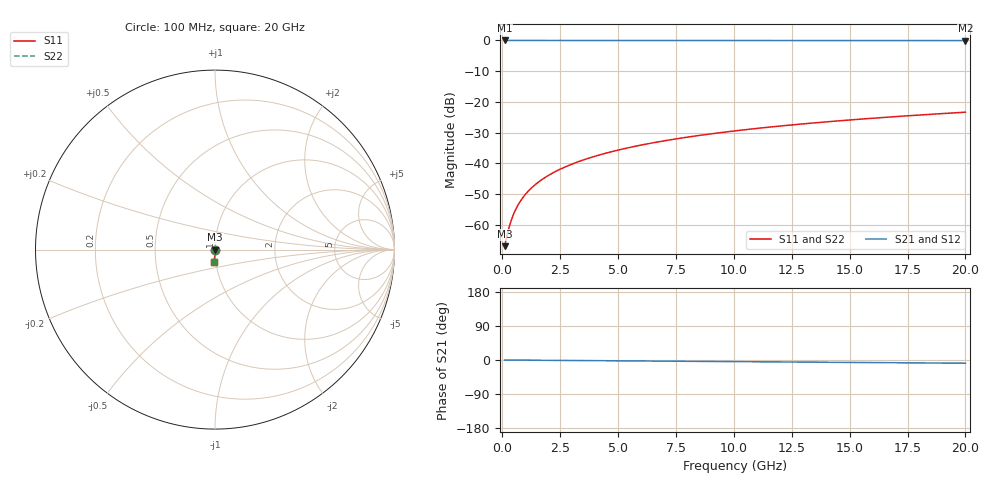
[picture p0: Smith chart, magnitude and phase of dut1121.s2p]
! Touchstone file exported from HFSS 2026.1.0
!  File:  C:/ffzhzh/LocalFiles/Ansys_Project_Files/temp_train_TSV_1121_1783190958_18472.aedt
!  Generated:  02:50:44 AM Jul  5, 2026
!  Design:  TSV
!  Project:  temp_train_TSV_1121_1783190958_18472
! Variables:
!  h_bsmrdl = 2um
!  h_ox = 20um
!  h_rdl = 5um
!  h_sub = 82.93um
!  h_tmrdl = 5um
!  h_tsv = 82.93um
!  h_via = 3um
!  l_bsmrdl = 300um
!  l_sub = 410.98um
!  l_tmrdl = 200um
!  m_sub = 200um
!  pitch = 14.83um
!  r_tsv = 5.49um
!  s_tmrdl = 10um
!  w_bsmrdl = 18um
!  w_sub = 500um
!  w_tmrdl = 12um
!  x_tsv_center1 = 206um
!  x_tsv_center2 = 524um
!  x_tsv_center3 = 736um
!  x_tsv_center4 = 1054um
!  x_tsv_center5 = 1266um
!  x_tsv_center6 = 1584um
# GHz S MA R 50.000000
! Terminal data exported
! Port[1] = TSV1_1_T1
! Port[2] = TSV1_1_T2
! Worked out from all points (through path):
!   200 points, 100 MHz to 20 GHz, reference 50 ohm
!   highest |S21| = 0.00 dB at 100 MHz (marker M1); lowest = 0.0 dB at 20 GHz (marker M2)
!   group delay of S21, straight-line fit = 1.18 ps
!   lowest |S11| = -67.0 dB at 100 MHz (marker M3), VSWR 1.00, Z = 50 - j0.0256 ohm
!   |S11| at or under -10 dB: start of sweep to end of sweep
!   |S22| runs from -67.0 to -23.4 dB; largest |S21 - S12| = 4e-15
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0.1  0.0004466 -35.0  0.9996 -0.0  0.9996 -0.0  0.0004466 -35.0
! Gamma 0 0 0 0
! Port Impedance 50 0 50 0
0.2  0.0006597 -52.8  0.9996 -0.1  0.9996 -0.1  0.0006597 -52.8
0.3  0.000925 -61.6  0.9996 -0.1  0.9996 -0.1  0.000925 -61.6
0.4  0.001217 -66.7  0.9995 -0.2  0.9995 -0.2  0.001217 -66.7
0.5  0.001523 -70.1  0.9995 -0.2  0.9995 -0.2  0.001523 -70.1
0.6  0.001837 -72.7  0.9994 -0.3  0.9994 -0.3  0.001837 -72.7
0.8  0.002476 -76.2  0.9994 -0.4  0.9994 -0.4  0.002476 -76.2
1.1  0.003444 -79.4  0.9993 -0.5  0.9993 -0.5  0.003444 -79.4
1.3  0.004092 -80.8  0.9993 -0.6  0.9993 -0.6  0.004092 -80.8
1.5  0.00474 -81.8  0.9993 -0.7  0.9993 -0.7  0.00474 -81.8
1.8  0.005716 -83.0  0.9992 -0.8  0.9992 -0.8  0.005716 -83.0
2.1  0.006696 -83.9  0.9991 -0.9  0.9991 -0.9  0.006696 -83.9
2.7  0.008669 -85.1  0.999 -1.2  0.999 -1.2  0.008669 -85.1
3.5  0.01133 -86.1  0.9989 -1.5  0.9989 -1.5  0.01133 -86.1
4.2  0.01368 -86.9  0.9987 -1.8  0.9987 -1.8  0.01368 -86.9
5  0.01639 -87.6  0.9986 -2.2  0.9986 -2.2  0.01639 -87.6
6.8  0.02253 -88.9  0.9982 -2.9  0.9982 -2.9  0.02253 -88.9
8.3  0.02768 -90.0  0.9979 -3.6  0.9979 -3.6  0.02768 -90.0
10.1  0.03387 -91.1  0.9975 -4.3  0.9975 -4.3  0.03387 -91.1
13.4  0.04521 -92.9  0.9968 -5.7  0.9968 -5.7  0.04521 -92.9
16.7  0.05653 -94.6  0.9959 -7.1  0.9959 -7.1  0.05653 -94.6
20  0.06786 -96.2  0.9949 -8.5  0.9949 -8.5  0.06786 -96.2
